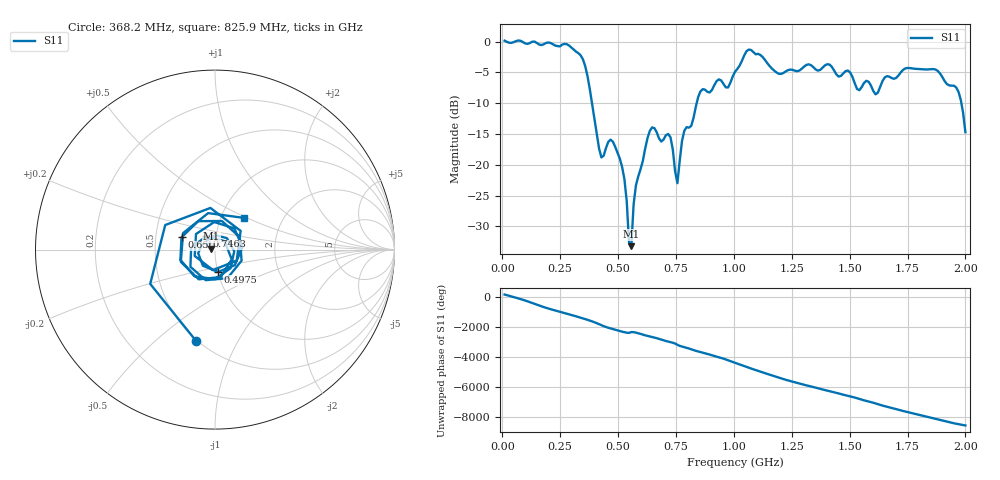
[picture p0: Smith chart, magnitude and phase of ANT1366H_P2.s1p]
!Created with skrf (http://scikit-rf.org).
# Hz S RI R 50.0
!freq ReS11 ImS11
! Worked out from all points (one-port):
!   201 points, 10 MHz to 2 GHz, reference 50 ohm
!   lowest |S11| = -33.2 dB at 557.2 MHz (marker M1), VSWR 1.04, Z = 47.9 + j0.492 ohm
!   |S11| at or under -10 dB: 387.3 MHz to 839.5 MHz (452.2 MHz wide, 73.7 % of centre); 1.983 GHz to end of sweep
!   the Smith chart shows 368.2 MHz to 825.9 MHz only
!   S11 on the Smith chart (normalised r, x): 368.2 MHz: 0.49, -0.69; 497.6 MHz: 1.00, -0.25; 656.8 MHz: 0.68, +0.10; 746.3 MHz: 0.90, +0.14; 825.9 MHz: 1.29, +0.48
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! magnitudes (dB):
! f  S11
! 10 MHz  0.1
! 258.8 MHz  -0.5
! 338.4 MHz  -2.2
! 368.2 MHz  -5.7
! 427.9 MHz  -18.8
! 467.7 MHz  -15.9
! 497.6 MHz  -18.0
! 507.5 MHz  -19.0
! 527.4 MHz  -22.3
! 547.3 MHz  -32.5
! 557.2 MHz  -33.2
! 577.1 MHz  -23.3
! 656.8 MHz  -14.0
! 726.4 MHz  -15.5
! 746.3 MHz  -21.0
! 756.2 MHz  -23.0
! 786.1 MHz  -14.5
! 825.9 MHz  -12.4
! 855.8 MHz  -8.1
! 975.1 MHz  -7.4
! 1.005 GHz  -4.9
! 1.065 GHz  -1.3
! 1.254 GHz  -4.6
! 1.502 GHz  -5.0
! 1.612 GHz  -8.6
! 1.751 GHz  -4.3
! 1.96 GHz  -7.4
! 2 GHz  -14.7
